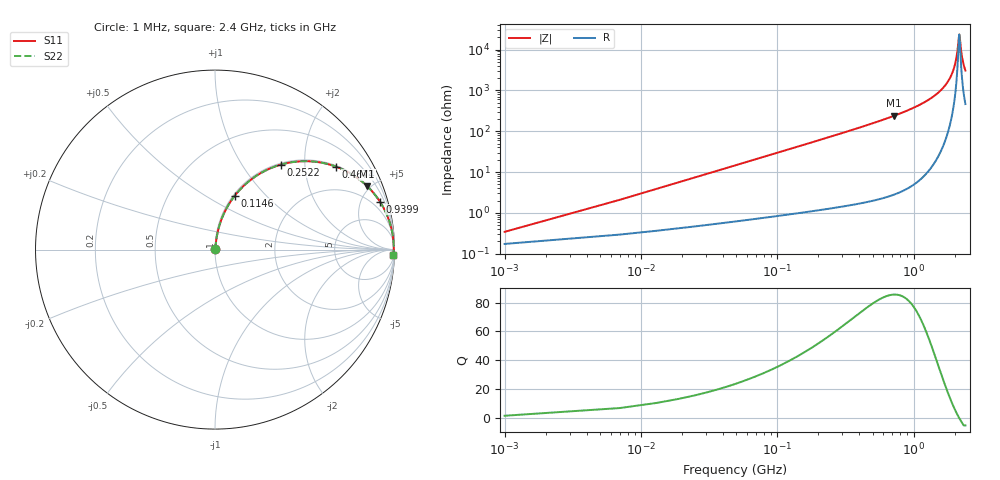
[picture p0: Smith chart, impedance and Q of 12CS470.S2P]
! Coilcraft 1206CS-470 Chip Inductor
! 29 July 2002
# MHZ S MA R 50
!Freq  MagS11  AngS11  MagS21  AngS21  MagS12  AngS12  MagS22  AngS22
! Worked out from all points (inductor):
!   403 points, 1 MHz to 2.4 GHz, reference 50 ohm
!   read as one part in series: L = 47 nH near 12.96 MHz
!   highest Q = 85.5 at 718.6 MHz (marker M1), where L = 52.8 nH
!   self-resonance near 2.16 GHz
!   S11 on the Smith chart (normalised r, x): 1 MHz: 1.00, +0.01; 114.6 MHz: 1.02, +0.68; 252.2 MHz: 1.03, +1.51; 467.4 MHz: 1.04, +2.90; 939.9 MHz: 1.09, +6.84; 2.4 GHz: 10, -61
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1  0.003417 59.5  0.9983 -0.2  0.9983 -0.2  0.003417 59.5
18.94  0.05577 82.5  0.9943 -3.2  0.9943 -3.2  0.05577 82.5
30.9  0.09058 81.6  0.9909 -5.2  0.9909 -5.2  0.09058 81.6
60.8  0.1758 77.7  0.9779 -10.1  0.9779 -10.1  0.1758 77.7
114.62  0.319 69.9  0.9395 -18.6  0.9395 -18.6  0.319 69.9
174.42  0.4565 61.7  0.8803 -27.2  0.8803 -27.2  0.4565 61.7
252.16  0.5976 52.3  0.7916 -36.7  0.7916 -36.7  0.5976 52.3
401.66  0.7704 38.8  0.6271 -50.4  0.6271 -50.4  0.7704 38.8
467.44  0.8179 34.4  0.5649 -54.9  0.5649 -54.9  0.8179 34.4
718.6  0.9184 22.6  0.3851 -66.7  0.3851 -66.7  0.9184 22.6
802.32  0.9361 19.9  0.3408 -69.4  0.3408 -69.4  0.9361 19.9
939.86  0.9566 16.2  0.2797 -73.0  0.2797 -73.0  0.9566 16.2
1202.98  0.9787 11.0  0.1904 -78.1  0.1904 -78.1  0.9787 11.0
1603.64  0.9923 5.4  0.09463 -82.7  0.09463 -82.7  0.9923 5.4
1842.84  0.9952 2.9  0.05052 -83.1  0.05052 -83.1  0.9952 2.9
2004.3  0.9959 1.4  0.02439 -79.5  0.02439 -79.5  0.9959 1.4
2076.06  0.9959 0.8  0.01371 -72.2  0.01371 -72.2  0.9959 0.8
2147.82  0.9958 0.1  0.004896 -30.9  0.004896 -30.9  0.9958 0.1
2165.76  0.9958 -0.0  0.004241 0.9  0.004241 0.9  0.9958 -0.0
2237.52  0.9955 -0.6  0.01113 66.0  0.01113 66.0  0.9955 -0.6
2273.4  0.9954 -0.9  0.01582 72.5  0.01582 72.5  0.9954 -0.9
2400  0.9946 -1.8  0.03242 79.5  0.03242 79.5  0.9946 -1.8
